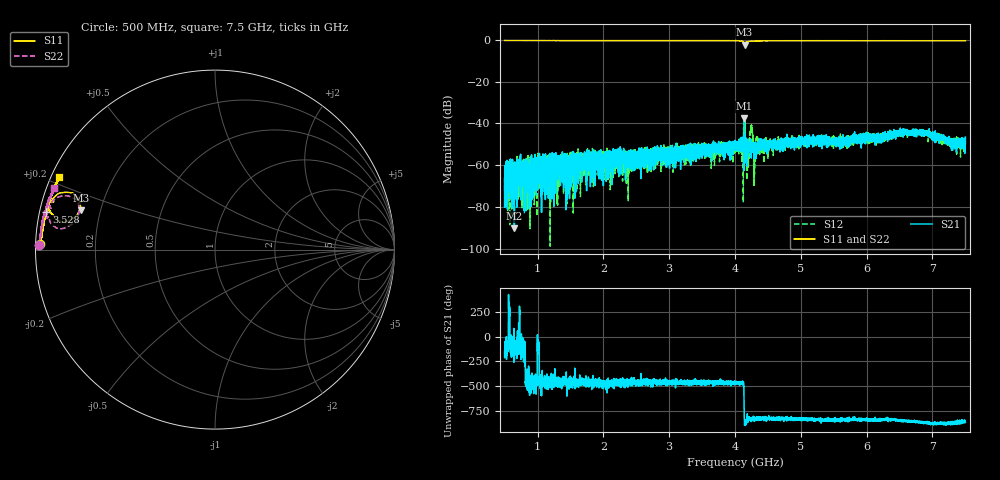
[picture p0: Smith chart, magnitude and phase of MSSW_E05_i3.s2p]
!Keysight Technologies,M9374A,MY55442783,A.12.55.05
!Date: Thursday, May 20, 2021 11:55:07
!Correction: S11(Full 2 Port(1,2))
!S21(Full 2 Port(1,2))
!S12(Full 2 Port(1,2))
!S22(Full 2 Port(1,2))
!S2P File: Measurements: S11, S21, S12, S22:
# Hz S  RI  R 50
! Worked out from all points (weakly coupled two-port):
!   7001 points, 500 MHz to 7.5 GHz, reference 50 ohm
!   highest |S21| = -37.54 dB at 4.143 GHz (marker M1); lowest = -90.2 dB at 648 MHz (marker M2)
!   lowest |S11| = -2.2 dB at 4.145 GHz (marker M3), VSWR 8.02, Z = 6.36 + j7.07 ohm
!   |S11| at or under -10 dB: nowhere
!   |S22| runs from -2.2 to -0.2 dB; largest |S21 - S12| = 0.017
!   S11 on the Smith chart (normalised r, x): 500 MHz: 0.01, +0.02; 3.528 GHz: 0.02, +0.11; 7.5 GHz: 0.02, +0.22
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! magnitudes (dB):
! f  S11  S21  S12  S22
! 500 MHz  -0.2  -66.5  -72.4  -0.2
! 536 MHz  -0.2  -57.7  -76.7  -0.2
! 648 MHz  -0.2  -90.2  -86.3  -0.2
! 1.667 GHz  -0.3  -62.0  -60.1  -0.2
! 2.368 GHz  -0.3  -59.3  -57.1  -0.2
! 2.834 GHz  -0.3  -53.7  -55.7  -0.2
! 3.528 GHz  -0.3  -52.9  -51.0  -0.2
! 4 GHz  -0.4  -52.2  -49.7  -0.3
! 4.092 GHz  -0.5  -49.6  -51.0  -0.5
! 4.143 GHz  -2.1  -37.5  -39.7  -2.0
! 4.145 GHz  -2.2  -40.0  -43.5  -2.0
! 4.191 GHz  -0.8  -48.8  -56.3  -0.7
! 4.25 GHz  -0.6  -51.1  -41.7  -0.5
! 4.311 GHz  -0.5  -51.2  -49.0  -0.4
! 4.346 GHz  -0.5  -50.4  -48.7  -0.4
! 4.521 GHz  -0.4  -48.2  -48.7  -0.3
! 5.167 GHz  -0.3  -46.8  -48.7  -0.3
! 5.622 GHz  -0.4  -49.7  -46.8  -0.3
! 6.334 GHz  -0.4  -45.6  -46.7  -0.3
! 6.827 GHz  -0.4  -44.9  -43.8  -0.4
! 7.33 GHz  -0.4  -51.4  -50.1  -0.3
! 7.5 GHz  -0.4  -46.5  -48.9  -0.4
